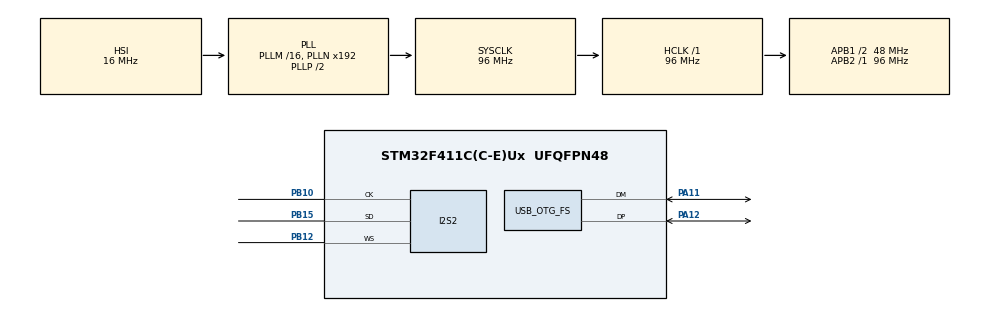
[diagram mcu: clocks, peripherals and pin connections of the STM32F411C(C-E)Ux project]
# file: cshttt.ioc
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Dma.Request0=SPI2_RX
Dma.SPI2_RX.0.Direction=DMA_PERIPH_TO_MEMORY
Dma.SPI2_RX.0.FIFOMode=DMA_FIFOMODE_DISABLE
Dma.SPI2_RX.0.Instance=DMA1_Stream3
Dma.SPI2_RX.0.MemDataAlignment=DMA_MDATAALIGN_WORD
Dma.SPI2_RX.0.MemInc=DMA_MINC_ENABLE
Dma.SPI2_RX.0.Mode=DMA_CIRCULAR
Dma.SPI2_RX.0.PeriphDataAlignment=DMA_PDATAALIGN_WORD
Dma.SPI2_RX.0.PeriphInc=DMA_PINC_DISABLE
Dma.SPI2_RX.0.Priority=DMA_PRIORITY_HIGH
I2S2.AudioFreq=I2S_AUDIOFREQ_48K
I2S2.DataFormat=I2S_DATAFORMAT_24B
I2S2.ErrorAudioFreq=0.8 %
I2S2.FullDuplexMode=I2S_FULLDUPLEXMODE_DISABLE
I2S2.Instance=SPI$Index
I2S2.Mode=I2S_MODE_MASTER_RX
I2S2.RealAudioFreq=48.387 KHz
I2S2.VirtualMode=I2S_MODE_MASTER
Mcu.Family=STM32F4
Mcu.Name=STM32F411C(C-E)Ux
Mcu.Package=UFQFPN48
NVIC.DMA1_Stream3_IRQn=true\:0\:0\:false\:false\:true\:false\:true\:true
NVIC.OTG_FS_IRQn=true\:0\:0\:false\:false\:true\:false\:true\:true
NVIC.PriorityGroup=NVIC_PRIORITYGROUP_4
PA11.Mode=Device_Only
PA11.Signal=USB_OTG_FS_DM
PA12.Mode=Device_Only
PA12.Signal=USB_OTG_FS_DP
PA13.Mode=Serial_Wire
PA13.Signal=SYS_JTMS-SWDIO
PA14.Mode=Serial_Wire
PA14.Signal=SYS_JTCK-SWCLK
PB10.Mode=Half_Duplex_Master
PB10.Signal=I2S2_CK
PB12.Mode=Half_Duplex_Master
PB12.Signal=I2S2_WS
PB15.Mode=Half_Duplex_Master
PB15.Signal=I2S2_SD
ProjectManager.HeapSize=0x200
ProjectManager.StackSize=0x400
ProjectManager.TargetToolchain=STM32CubeIDE
RCC.AHBFreq_Value=96000000
RCC.APB1CLKDivider=RCC_HCLK_DIV2
RCC.APB1Freq_Value=48000000
RCC.APB1TimFreq_Value=96000000
RCC.APB2Freq_Value=96000000
RCC.APB2TimFreq_Value=96000000
RCC.CortexFreq_Value=96000000
RCC.HCLKFreq_Value=96000000
RCC.HSE_VALUE=25000000
RCC.HSI_VALUE=16000000
RCC.LSE_VALUE=32768
RCC.PLLSource=RCC_PLLSOURCE_HSI
RCC.PLLSourceVirtualString=RCC_PLLSOURCE_HSI
RCC.SYSCLKFreq_VALUE=96000000
RCC.SYSCLKSource=RCC_SYSCLKSOURCE_PLLCLK
RCC.VCOOutputFreq_Value=192000000
USB_DEVICE.CLASS_NAME_FS=CDC
USB_DEVICE.VirtualMode=Cdc
USB_DEVICE.VirtualModeFS=Cdc_FS
USB_OTG_FS.VirtualMode=Device_Only
VP_USB_DEVICE_VS_USB_DEVICE_CDC_FS.Mode=CDC_FS
board=custom

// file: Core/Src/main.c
/* USER CODE BEGIN Header */
/**
  ******************************************************************************
  * @file           : main.c
  * @brief          : HỆ THỐNG LỌC SỐ FIR TRÊN STM32
  * @author         : [Tên của bạn]
  * @note           : Code này bao gồm đầy đủ:
  * 1. Cấu hình Clock hệ thống & Ngoại vi (I2S, DMA, USB).
  * 2. Thuật toán lọc số FIR (Convolution).
  * 3. Cơ chế thu thập mẫu DMA Circular (Double Buffering).
  * 4. Cơ chế truyền USB gói lớn (Batching).
  * 5. Chế độ Test (Giả lập) và Chế độ Mic (Thực tế).
  ******************************************************************************
  */
/* USER CODE END Header */
#include "main.h"
#include "usb_device.h"

/* USER CODE BEGIN Includes */
#include "usbd_cdc_if.h"
#include <string.h>
#include <stdio.h>
/* USER CODE END Includes */

/* USER CODE BEGIN PTD */
#define MODE_TEST 0  // Chế độ chạy thử nghiệm sóng giả lập
#define MODE_MIC  1  // Chế độ chạy thực tế với Microphone

#define RUN_MODE  MODE_MIC
// =========================================================
/* USER CODE END PTD */

/* USER CODE BEGIN PD */
/* Bậc của bộ lọc FIR. N=51 nghĩa là cần 51 phép nhân + cộng cho 1 mẫu đầu ra.
   Số này được tính toán từ MATLAB để đạt tần số cắt 20kHz với độ dốc phù hợp. */
#define FIR_TAP  51

/* Kích thước gói dữ liệu (Snapshot) gửi lên máy tính.
   512 mẫu là đủ để thuật toán FFT trên MATLAB hiển thị đẹp và chi tiết. */
#define BUF_SIZE 512

/* Kích thước buffer phần cứng cho DMA.
   64 mẫu: DMA sẽ ngắt khi đầy 32 mẫu (Half) và 64 mẫu (Full).
   Kỹ thuật Double Buffering giúp xử lý liên tục mà không ngắt quãng tín hiệu. */
#define I2S_DMA_LEN 64

/* Hệ số khuếch đại số (Digital Gain).*/
#define MIC_GAIN 15000.0f
/* USER CODE END PD */

I2S_HandleTypeDef hi2s2;
DMA_HandleTypeDef hdma_spi2_rx;

/* USER CODE BEGIN PV */

/* 1. DỮ LIỆU TÍN HIỆU GIẢ LẬP (Mode A) */
float test_signal[] = {
		0.000000f, 0.256605f, 0.224144f, 0.653281f, 0.250000f, 0.766320f, -0.000000f, 0.588018f,
		-0.433013f, 0.270598f, -0.836516f, 0.033783f, -1.000000f, 0.033783f, -0.836516f, 0.270598f,
		-0.433013f, 0.588018f, 0.000000f, 0.766320f, 0.250000f, 0.653281f, 0.224144f, 0.256605f,
		0.000000f, -0.256605f, -0.224144f, -0.653281f, -0.250000f, -0.766320f, -0.000000f, -0.588018f,
		0.433013f, -0.270598f, 0.836516f, -0.033783f, 1.000000f, -0.033783f, 0.836516f, -0.270598f,
		0.433013f, -0.588018f, -0.000000f, -0.766320f, -0.250000f, -0.653281f, -0.224144f, -0.256605f,
		-0.000000f, 0.256605f, 0.224144f, 0.653281f, 0.250000f, 0.766320f, 0.000000f, 0.588018f,
		-0.433013f, 0.270598f, -0.836516f, 0.033783f, -1.000000f, 0.033783f, -0.836516f, 0.270598f,
		-0.433013f, 0.588018f, -0.000000f, 0.766320f, 0.250000f, 0.653281f, 0.224144f, 0.256605f,
		0.000000f, -0.256605f, -0.224144f, -0.653281f, -0.250000f, -0.766320f, -0.000000f, -0.588018f,
		0.433013f, -0.270598f, 0.836516f, -0.033783f, 1.000000f, -0.033783f, 0.836516f, -0.270598f,
		0.433013f, -0.588018f, 0.000000f, -0.766320f, -0.250000f, -0.653281f, -0.224144f, -0.256605f,
		-0.000000f, 0.256605f, 0.224144f, 0.653281f, 0.250000f, 0.766320f, 0.000000f, 0.588018f,
		-0.433013f, 0.270598f, -0.836516f, 0.033783f, -1.000000f, 0.033783f, -0.836516f, 0.270598f,
		-0.433013f, 0.588018f, 0.000000f, 0.766320f, 0.250000f, 0.653281f, 0.224144f, 0.256605f,
		0.000000f, -0.256605f, -0.224144f, -0.653281f, -0.250000f, -0.766320f, -0.000000f, -0.588018f,
		0.433013f, -0.270598f, 0.836516f, -0.033783f, 1.000000f, -0.033783f, 0.836516f, -0.270598f,
		0.433013f, -0.588018f, 0.000000f, -0.766320f, -0.250000f, -0.653281f, -0.224144f, -0.256605f,
		-0.000000f, 0.256605f, 0.224144f, 0.653281f, 0.250000f, 0.766320f, 0.000000f, 0.588018f,
		-0.433013f, 0.270598f, -0.836516f, 0.033783f, -1.000000f, 0.033783f, -0.836516f, 0.270598f,
		-0.433013f, 0.588018f, 0.000000f, 0.766320f, 0.250000f, 0.653281f, 0.224144f, 0.256605f,
		-0.000000f, -0.256605f, -0.224144f, -0.653281f, -0.250000f, -0.766320f, 0.000000f, -0.588018f,
		0.433013f, -0.270598f, 0.836516f, -0.033783f, 1.000000f, -0.033783f, 0.836516f, -0.270598f,
		0.433013f, -0.588018f, 0.000000f, -0.766320f, -0.250000f, -0.653281f, -0.224144f, -0.256605f,
		-0.000000f, 0.256605f, 0.224144f, 0.653281f, 0.250000f, 0.766320f, 0.000000f, 0.588018f,
		-0.433013f, 0.270598f, -0.836516f, 0.033783f, -1.000000f, 0.033783f, -0.836516f, 0.270598f,
		-0.433013f, 0.588018f, 0.000000f, 0.766320f, 0.250000f, 0.653281f, 0.224144f, 0.256605f,
		0.000000f, -0.256605f, -0.224144f, -0.653281f, -0.250000f, -0.766320f, -0.000000f, -0.588018f,
		0.433013f, -0.270598f, 0.836516f, -0.033783f, 1.000000f, -0.033783f, 0.836516f, -0.270598f,
		0.433013f, -0.588018f, -0.000000f, -0.766320f, -0.250000f, -0.653281f, -0.224144f, -0.256605f,
		0.000000f, 0.256605f, 0.224144f, 0.653281f, 0.250000f, 0.766320f, -0.000000f, 0.588018f,
		-0.433013f, 0.270598f, -0.836516f, 0.033783f, -1.000000f, 0.033783f, -0.836516f, 0.270598f,
		-0.433013f, 0.588018f, 0.000000f, 0.766320f, 0.250000f, 0.653281f, 0.224144f, 0.256605f,
		0.000000f, -0.256605f, -0.224144f, -0.653281f, -0.250000f, -0.766320f, -0.000000f, -0.588018f,
		0.433013f, -0.270598f, 0.836516f, -0.033783f, 1.000000f, -0.033783f, 0.836516f, -0.270598f,
		0.433013f, -0.588018f, -0.000000f, -0.766320f, -0.250000f, -0.653281f, -0.224144f, -0.256605f
};

/* 2. HỆ SỐ BỘ LỌC FIR (Impulse Response)
   Đây là "trái tim" của bộ lọc. Các con số này quyết định đặc tính Lọc Thông Thấp.
   Được thiết kế bằng MATLAB (Window Method - Hamming Window). */
float fir_coeff[FIR_TAP] = {
		0.000509f, -0.000000f, -0.000653f, 0.001406f, -0.002074f, 0.002312f, -0.001713f, 0.000000f,
		0.002746f, -0.005925f, 0.008437f, -0.008929f, 0.006253f, -0.000000f, -0.009054f, 0.018791f,
		-0.026007f, 0.027081f, -0.018931f, 0.000000f, 0.029013f, -0.064948f, 0.102601f, -0.135741f,
		0.158462f, 0.832726f, 0.158462f, -0.135741f, 0.102601f, -0.064948f, 0.029013f, 0.000000f,
		-0.018931f, 0.027081f, -0.026007f, 0.018791f, -0.009054f, -0.000000f, 0.006253f, -0.008929f,
		0.008437f, -0.005925f, 0.002746f, 0.000000f, -0.001713f, 0.002312f, -0.002074f, 0.001406f,
		-0.000653f, -0.000000f, 0.000509f
};

/* 3. CÁC BIẾN CHO THUẬT TOÁN FIR */
float fir_buf[FIR_TAP] = {0}; // Circular Buffer lưu mẫu đầu vào quá khứ (x[n-k])
uint16_t fir_idx = 0;         // Con trỏ vị trí hiện tại trong Circular Buffer

/* 4. BIẾN TRUYỀN THÔNG USB (OPTIMIZATION) */
/* Buffer lớn 2KB để gom nhiều mẫu thành 1 gói (Batching).
   Lý do: Gửi từng byte qua USB rất chậm (overhead lớn).
   Gom lại gửi 1 lần giúp tăng tốc độ thực tế lên gấp 10-20 lần. */
char tx_packet_buf[2048];

/* 5. BIẾN XỬ LÝ ÂM THANH */
int32_t rx_dma_buf[I2S_DMA_LEN]; // Buffer nhận dữ liệu thô từ I2S DMA (Vùng nhớ chia sẻ)
float raw_store[BUF_SIZE];       // Kho lưu trữ tín hiệu gốc (Raw) cho 1 Snapshot
float fir_store[BUF_SIZE];       // Kho lưu trữ tín hiệu đã lọc (Filtered) cho 1 Snapshot
volatile uint16_t store_idx = 0; // Vị trí ghi hiện tại trong kho

volatile uint8_t recording = 1;          // Cờ trạng thái: 1 = Đang thu âm
volatile uint8_t data_ready_to_send = 0; // Cờ trạng thái: 1 = Đã thu đủ, sẵn sàng gửi

/* USER CODE END PV */

void SystemClock_Config(void);
static void MX_GPIO_Init(void);
static void MX_DMA_Init(void);
static void MX_I2S2_Init(void);
/* USER CODE BEGIN PFP */

/* ===================== HÀM KHỞI TẠO BỘ LỌC =====================
   Xóa sạch buffer lịch sử để tránh nhiễu từ lần chạy trước */
void fir_reset(void)
{
    for (int i = 0; i < FIR_TAP; i++) fir_buf[i] = 0.0f;
    fir_idx = 0;
}

/* ===================== THUẬT TOÁN FIR (CONVOLUTION) =====================
   Thực hiện phép tính: y[n] = Sum(h[k] * x[n-k])
   Sử dụng Circular Buffer để không phải dịch chuyển dữ liệu mảng (Tối ưu tốc độ) */
float fir_filter(float x)
{
    // 1. Lưu mẫu mới vào buffer vòng
    fir_buf[fir_idx] = x;
    float y = 0.0f;
    int j = fir_idx; // j là chỉ số duyệt ngược về quá khứ
    // 2. Thực hiện nhân tích chập (Multiply-Accumulate)
    for (int i = 0; i < FIR_TAP; i++)
    {
        y += fir_coeff[i] * fir_buf[j];
        // Dịch chuyển chỉ số j theo vòng tròn (Circular Indexing)
        if (j == 0) j = FIR_TAP - 1;
        else j--;
    }
    // 3. Tăng chỉ số cho lần gọi tiếp theo
    fir_idx++;
    if (fir_idx >= FIR_TAP) fir_idx = 0;
    return y; // Trả về mẫu đã lọc
}

/* ===================== HÀM XỬ LÝ MẺ DỮ LIỆU TỪ DMA =====================
   Hàm này được gọi bởi ngắt DMA (Callback) khi có dữ liệu mới từ Mic.
   Đây là nơi chuyển đổi dữ liệu thô (I2S) sang dữ liệu có nghĩa (Float). */
void Process_Audio_Batch(int32_t *src_buf, uint16_t count)
{
    // Nếu main() đang bận gửi dữ liệu cũ thì bỏ qua dữ liệu mới để tránh xung đột
    if (data_ready_to_send) return;

    for (int i = 0; i < count; i++)
    {
        // Chỉ thu thập nếu đang bật chế độ ghi và kho chưa đầy
        if (recording && store_idx < BUF_SIZE)
        {
            /* [QUAN TRỌNG] Xử lý dữ liệu I2S 24-bit Philips Standard.
               Dữ liệu 24-bit được căn trái trong thanh ghi 32-bit (MSB aligned).
               Cần dịch phải 8 bit để lấy đúng giá trị thực có dấu (Signed Int). */
            int32_t val_24 = src_buf[i] >> 8;

            /* Chuẩn hóa về dải Float [-1.0, 1.0] và nhân hệ số Gain */
            float x_raw = ((float)val_24 / 8388608.0f) * MIC_GAIN;

            /* Gọi hàm lọc FIR */
            float y = fir_filter(x_raw);

            /* Clamping (Bão hòa): Cắt ngọn nếu tín hiệu vượt quá +/- 1.0
               để tránh lỗi tràn số hoặc méo tiếng khi hiển thị */
            if (y > 1.0f) y = 1.0f;
            else if (y < -1.0f) y = -1.0f;

            if (x_raw > 1.0f) x_raw = 1.0f;
            else if (x_raw < -1.0f) x_raw = -1.0f;

            /* Lưu vào kho chứa (Snapshot) */
            raw_store[store_idx] = x_raw;
            fir_store[store_idx] = y;
            store_idx++;
        }

        /* Kiểm tra nếu kho đã đầy (đủ 512 mẫu) */
        if (store_idx >= BUF_SIZE)
        {
            recording = 0;          // Dừng thu
            data_ready_to_send = 1; // Bật cờ báo cho main() biết để gửi USB
            break;
        }
    }
}
/* USER CODE END PFP */

int main(void)
{

  /* MCU Configuration--------------------------------------------------------*/

  /* Reset of all peripherals, Initializes the Flash interface and the Systick. */
  HAL_Init();

  /* Configure the system clock */
  SystemClock_Config();

  /* Initialize all configured peripherals */
  MX_GPIO_Init();
  MX_DMA_Init();
  MX_I2S2_Init();
  MX_USB_DEVICE_Init();
  /* USER CODE BEGIN 2 */
  fir_reset(); // Xóa sạch bộ nhớ lọc

  /* [QUAN TRỌNG] Kích hoạt I2S DMA chế độ Circular (Vòng tròn).
     - DMA tự động chuyển dữ liệu từ Mic vào buffer rx_dma_buf.
     - CPU không cần can thiệp vào quá trình này, chỉ chờ ngắt báo xong. */
  if (RUN_MODE == MODE_MIC) {
      HAL_I2S_Receive_DMA(&hi2s2, (uint16_t*)rx_dma_buf, I2S_DMA_LEN);
  }
  /* USER CODE END 2 */

  /* Infinite loop */
  while (1)
  {

  }
}

void SystemClock_Config(void)
{
  RCC_OscInitTypeDef RCC_OscInitStruct = {0};
  RCC_ClkInitTypeDef RCC_ClkInitStruct = {0};

  /** Configure the main internal regulator output voltage
  */
  __HAL_RCC_PWR_CLK_ENABLE();
  __HAL_PWR_VOLTAGESCALING_CONFIG(PWR_REGULATOR_VOLTAGE_SCALE1);

  /** Initializes the RCC Oscillators according to the specified parameters
  * in the RCC_OscInitTypeDef structure.
  */
  RCC_OscInitStruct.OscillatorType = RCC_OSCILLATORTYPE_HSI;
  RCC_OscInitStruct.HSIState = RCC_HSI_ON;
  RCC_OscInitStruct.HSICalibrationValue = RCC_HSICALIBRATION_DEFAULT;
  RCC_OscInitStruct.PLL.PLLState = RCC_PLL_ON;
  RCC_OscInitStruct.PLL.PLLSource = RCC_PLLSOURCE_HSI;
  RCC_OscInitStruct.PLL.PLLM = 16;
  RCC_OscInitStruct.PLL.PLLN = 192;
  RCC_OscInitStruct.PLL.PLLP = RCC_PLLP_DIV2;
  RCC_OscInitStruct.PLL.PLLQ = 4;
  if (HAL_RCC_OscConfig(&RCC_OscInitStruct) != HAL_OK)
  {
    Error_Handler();
  }

  /** Initializes the CPU, AHB and APB buses clocks
  */
  RCC_ClkInitStruct.ClockType = RCC_CLOCKTYPE_HCLK|RCC_CLOCKTYPE_SYSCLK
                              |RCC_CLOCKTYPE_PCLK1|RCC_CLOCKTYPE_PCLK2;
  RCC_ClkInitStruct.SYSCLKSource = RCC_SYSCLKSOURCE_PLLCLK;
  RCC_ClkInitStruct.AHBCLKDivider = RCC_SYSCLK_DIV1;
  RCC_ClkInitStruct.APB1CLKDivider = RCC_HCLK_DIV2;
  RCC_ClkInitStruct.APB2CLKDivider = RCC_HCLK_DIV1;

  if (HAL_RCC_ClockConfig(&RCC_ClkInitStruct, FLASH_LATENCY_3) != HAL_OK)
  {
    Error_Handler();
  }
}

static void MX_I2S2_Init(void)
{

  hi2s2.Instance = SPI2;
  hi2s2.Init.Mode = I2S_MODE_MASTER_RX;
  hi2s2.Init.Standard = I2S_STANDARD_PHILIPS;
  hi2s2.Init.DataFormat = I2S_DATAFORMAT_24B;
  hi2s2.Init.MCLKOutput = I2S_MCLKOUTPUT_DISABLE;
  hi2s2.Init.AudioFreq = I2S_AUDIOFREQ_48K;
  hi2s2.Init.CPOL = I2S_CPOL_LOW;
  hi2s2.Init.ClockSource = I2S_CLOCK_PLL;
  hi2s2.Init.FullDuplexMode = I2S_FULLDUPLEXMODE_DISABLE;
  if (HAL_I2S_Init(&hi2s2) != HAL_OK)
  {
    Error_Handler();
  }

}

static void MX_DMA_Init(void)
{

  /* DMA controller clock enable */
  __HAL_RCC_DMA1_CLK_ENABLE();

  /* DMA interrupt init */
  /* DMA1_Stream3_IRQn interrupt configuration */
  HAL_NVIC_SetPriority(DMA1_Stream3_IRQn, 0, 0);
  HAL_NVIC_EnableIRQ(DMA1_Stream3_IRQn);

}

static void MX_GPIO_Init(void)
{

  /* GPIO Ports Clock Enable */
  __HAL_RCC_GPIOB_CLK_ENABLE();
  __HAL_RCC_GPIOA_CLK_ENABLE();

}

void Error_Handler(void)
{
  __disable_irq();
  while (1)
  {
  }
}
